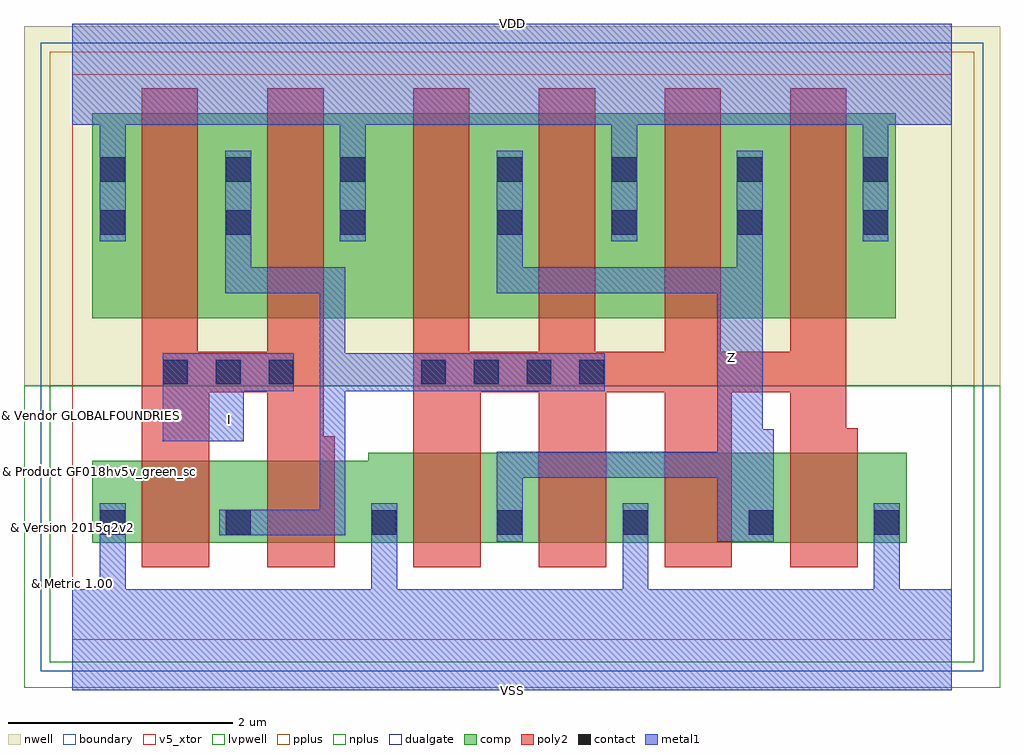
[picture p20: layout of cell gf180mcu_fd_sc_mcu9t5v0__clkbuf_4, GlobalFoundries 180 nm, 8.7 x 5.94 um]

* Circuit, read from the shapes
.subckt gf180mcu_fd_sc_mcu9t5v0__clkbuf_4 I VDD VSS Z
XM1 n1 I VSS VSUBS nfet_05v0 w=0.73u l=0.6u m=2
XM2 Z n1 VSS VSUBS nfet_05v0 w=0.8u l=0.6u m=4
XM3 n1 I VDD n2 pfet_05v0 w=1.83u l=0.5u m=2
XM4 Z n1 VDD n2 pfet_05v0 w=1.83u l=0.5u m=4
.ends

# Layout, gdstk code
import gdstk
lib = gdstk.Library(unit=1e-6, precision=1e-09)
def R(c, l, rs):  # rectangles x0, y0, x1, y1
    for r in rs: c.add(gdstk.rectangle(r[:2], r[2:], *l))
def P(c, l, *ps):  # polygons
    for p in ps: c.add(gdstk.Polygon(p, *l))
boundary = (0, 0)
nwell = (21, 0)
comp = (22, 0)
poly2 = (30, 0)
pplus = (31, 0)
nplus = (32, 0)
contact = (33, 0)
metal1 = (34, 0)
dualgate = (55, 0)
v5_xtor = (112, 1)
lvpwell = (204, 0)

gf180mcu_fd_sc_mcu9t5v0_ = lib.new_cell('gf180mcu_fd_sc_mcu9t5v0__clkbuf_4')
R(gf180mcu_fd_sc_mcu9t5v0_, boundary, [(0,0,7.84,5.04), (0,0,7.84,5.04)])
R(gf180mcu_fd_sc_mcu9t5v0_, nwell, [(-0.43,2.265,8.27,5.47), (-0.43,2.265,8.27,5.47)])
R(gf180mcu_fd_sc_mcu9t5v0_, comp, [(0.18,2.865,7.34,4.695), (0.18,2.865,7.34,4.695)])
P(gf180mcu_fd_sc_mcu9t5v0_, comp, [(0.18,0.865),(0.18,1.595),(2.64,1.595),(2.64,1.665),(7.44,1.665),(7.44,0.865)],
  [(0.18,0.865),(0.18,1.595),(2.64,1.595),(2.64,1.665),(7.44,1.665),(7.44,0.865)])
P(gf180mcu_fd_sc_mcu9t5v0_, poly2, [(0.62,0.645),(0.62,4.915),(1.12,4.915),(1.12,2.565),(1.74,2.565),(1.74,4.915),(2.24,4.915),(2.24,1.815),(2.34,1.815),(2.34,0.645),(1.74,0.645),(1.74,2.205),(1.22,2.205),(1.22,0.645)],
  [(3.04,0.645),(3.04,4.915),(3.54,4.915),(3.54,2.565),(4.16,2.565),(4.16,4.915),(4.66,4.915),(4.66,2.565),(5.28,2.565),(5.28,4.915),(5.78,4.915),(5.78,2.565),(6.4,2.565),(6.4,4.915),(6.9,4.915),(6.9,1.885),(7,1.885),(7,0.645),(6.4,0.645),(6.4,2.205),(5.88,2.205),(5.88,0.645),(5.28,0.645),(5.28,2.205),(4.76,2.205),(4.76,0.645),(4.16,0.645),(4.16,2.205),(3.64,2.205),(3.64,0.645)],
  [(0.62,0.645),(0.62,4.915),(1.12,4.915),(1.12,2.565),(1.74,2.565),(1.74,4.915),(2.24,4.915),(2.24,1.815),(2.34,1.815),(2.34,0.645),(1.74,0.645),(1.74,2.205),(1.22,2.205),(1.22,0.645)],
  [(3.04,0.645),(3.04,4.915),(3.54,4.915),(3.54,2.565),(4.16,2.565),(4.16,4.915),(4.66,4.915),(4.66,2.565),(5.28,2.565),(5.28,4.915),(5.78,4.915),(5.78,2.565),(6.4,2.565),(6.4,4.915),(6.9,4.915),(6.9,1.885),(7,1.885),(7,0.645),(6.4,0.645),(6.4,2.205),(5.88,2.205),(5.88,0.645),(5.28,0.645),(5.28,2.205),(4.76,2.205),(4.76,0.645),(4.16,0.645),(4.16,2.205),(3.64,2.205),(3.64,0.645)])
R(gf180mcu_fd_sc_mcu9t5v0_, pplus, [(-0.2,2.265,8.04,5.24), (-0.2,2.265,8.04,5.24)])
R(gf180mcu_fd_sc_mcu9t5v0_, nplus, [(-0.2,-0.2,8.04,2.265), (-0.2,-0.2,8.04,2.265)])
R(gf180mcu_fd_sc_mcu9t5v0_, contact, [(0.25,0.935,0.47,1.155), (0.25,0.935,0.47,1.155), (1.37,0.935,1.59,1.155), (1.37,0.935,1.59,1.155), (2.67,0.935,2.89,1.155), (2.67,0.935,2.89,1.155), (3.79,0.935,4.01,1.155), (3.79,0.935,4.01,1.155), (4.91,0.935,5.13,1.155), (4.91,0.935,5.13,1.155), (6.03,0.935,6.25,1.155), (6.03,0.935,6.25,1.155), (7.15,0.935,7.37,1.155), (7.15,0.935,7.37,1.155), (0.81,2.275,1.03,2.495), (0.81,2.275,1.03,2.495), (1.28,2.275,1.5,2.495), (1.28,2.275,1.5,2.495), (1.75,2.275,1.97,2.495), (1.75,2.275,1.97,2.495), (3.11,2.275,3.33,2.495), (3.11,2.275,3.33,2.495), (3.58,2.275,3.8,2.495), (3.58,2.275,3.8,2.495), (4.05,2.275,4.27,2.495), (4.05,2.275,4.27,2.495), (4.52,2.275,4.74,2.495), (4.52,2.275,4.74,2.495), (0.25,3.61,0.47,3.83), (0.25,3.61,0.47,3.83), (1.37,3.61,1.59,3.83), (1.37,3.61,1.59,3.83), (2.39,3.61,2.61,3.83), (2.39,3.61,2.61,3.83), (3.79,3.61,4.01,3.83), (3.79,3.61,4.01,3.83), (4.81,3.61,5.03,3.83), (4.81,3.61,5.03,3.83), (5.93,3.61,6.15,3.83), (5.93,3.61,6.15,3.83), (7.05,3.61,7.27,3.83), (7.05,3.61,7.27,3.83), (0.25,4.08,0.47,4.3), (0.25,4.08,0.47,4.3), (1.37,4.08,1.59,4.3), (1.37,4.08,1.59,4.3), (2.39,4.08,2.61,4.3), (2.39,4.08,2.61,4.3), (3.79,4.08,4.01,4.3), (3.79,4.08,4.01,4.3), (4.81,4.08,5.03,4.3), (4.81,4.08,5.03,4.3), (5.93,4.08,6.15,4.3), (5.93,4.08,6.15,4.3), (7.05,4.08,7.27,4.3), (7.05,4.08,7.27,4.3)])
P(gf180mcu_fd_sc_mcu9t5v0_, metal1, [(0.805,1.77),(0.805,2.555),(1.975,2.555),(1.975,2.215),(1.53,2.215),(1.53,1.77)],
  [(1.31,0.93),(1.31,1.16),(2.205,1.16),(2.205,3.09),(1.365,3.09),(1.365,4.36),(1.595,4.36),(1.595,3.32),(2.435,3.32),(2.435,2.555),(4.745,2.555),(4.745,2.215),(2.435,2.215),(2.435,0.93)],
  [(3.785,0.875),(3.785,1.675),(5.75,1.675),(5.75,3.09),(3.785,3.09),(3.785,4.36),(4.015,4.36),(4.015,3.32),(5.925,3.32),(5.925,4.36),(6.155,4.36),(6.155,1.875),(6.255,1.875),(6.255,0.875),(5.75,0.875),(5.75,1.445),(4.015,1.445),(4.015,0.875)],
  [(0,-0.45),(0,0.45),(0.245,0.45),(0.245,1.215),(0.475,1.215),(0.475,0.45),(2.665,0.45),(2.665,1.215),(2.895,1.215),(2.895,0.45),(4.905,0.45),(4.905,1.215),(5.135,1.215),(5.135,0.45),(7.145,0.45),(7.145,1.215),(7.375,1.215),(7.375,0.45),(7.84,0.45),(7.84,-0.45)],
  [(0.245,3.55),(0.245,4.59),(0,4.59),(0,5.49),(7.84,5.49),(7.84,4.59),(7.275,4.59),(7.275,3.55),(7.045,3.55),(7.045,4.59),(5.035,4.59),(5.035,3.55),(4.805,3.55),(4.805,4.59),(2.615,4.59),(2.615,3.55),(2.385,3.55),(2.385,4.59),(0.475,4.59),(0.475,3.55)],
  [(0.805,1.77),(0.805,2.555),(1.975,2.555),(1.975,2.215),(1.53,2.215),(1.53,1.77)],
  [(1.31,0.93),(1.31,1.16),(2.205,1.16),(2.205,3.09),(1.365,3.09),(1.365,4.36),(1.595,4.36),(1.595,3.32),(2.435,3.32),(2.435,2.555),(4.745,2.555),(4.745,2.215),(2.435,2.215),(2.435,0.93)],
  [(3.785,0.875),(3.785,1.675),(5.75,1.675),(5.75,3.09),(3.785,3.09),(3.785,4.36),(4.015,4.36),(4.015,3.32),(5.925,3.32),(5.925,4.36),(6.155,4.36),(6.155,1.875),(6.255,1.875),(6.255,0.875),(5.75,0.875),(5.75,1.445),(4.015,1.445),(4.015,0.875)],
  [(0,-0.45),(0,0.45),(0.245,0.45),(0.245,1.215),(0.475,1.215),(0.475,0.45),(2.665,0.45),(2.665,1.215),(2.895,1.215),(2.895,0.45),(4.905,0.45),(4.905,1.215),(5.135,1.215),(5.135,0.45),(7.145,0.45),(7.145,1.215),(7.375,1.215),(7.375,0.45),(7.84,0.45),(7.84,-0.45)],
  [(0.245,3.55),(0.245,4.59),(0,4.59),(0,5.49),(7.84,5.49),(7.84,4.59),(7.275,4.59),(7.275,3.55),(7.045,3.55),(7.045,4.59),(5.035,4.59),(5.035,3.55),(4.805,3.55),(4.805,4.59),(2.615,4.59),(2.615,3.55),(2.385,3.55),(2.385,4.59),(0.475,4.59),(0.475,3.55)])
R(gf180mcu_fd_sc_mcu9t5v0_, dualgate, [(-0.28,-0.28,8.12,5.32), (-0.28,-0.28,8.12,5.32)])
R(gf180mcu_fd_sc_mcu9t5v0_, v5_xtor, [(0,0,7.84,5.04), (0,0,7.84,5.04)])
R(gf180mcu_fd_sc_mcu9t5v0_, lvpwell, [(-0.43,-0.43,8.27,2.265), (-0.43,-0.43,8.27,2.265)])
gf180mcu_fd_sc_mcu9t5v0_.add(gdstk.Label('I', (1.4,1.96), layer=34, texttype=10))
gf180mcu_fd_sc_mcu9t5v0_.add(gdstk.Label('VDD', (3.92,5.49), layer=34, texttype=10))
gf180mcu_fd_sc_mcu9t5v0_.add(gdstk.Label('VSS', (3.92,-0.45), layer=34, texttype=10))
gf180mcu_fd_sc_mcu9t5v0_.add(gdstk.Label('Z', (5.88,2.52), layer=34, texttype=10))
gf180mcu_fd_sc_mcu9t5v0_.add(gdstk.Label('I', (1.4,1.96), layer=34, texttype=10))
gf180mcu_fd_sc_mcu9t5v0_.add(gdstk.Label('VDD', (3.92,5.49), layer=34, texttype=10))
gf180mcu_fd_sc_mcu9t5v0_.add(gdstk.Label('VSS', (3.92,-0.45), layer=34, texttype=10))
gf180mcu_fd_sc_mcu9t5v0_.add(gdstk.Label('Z', (5.88,2.52), layer=34, texttype=10))
gf180mcu_fd_sc_mcu9t5v0_.add(gdstk.Label('& Vendor GLOBALFOUNDRIES', (0,2), layer=63, texttype=63))
gf180mcu_fd_sc_mcu9t5v0_.add(gdstk.Label('& Product GF018hv5v_green_sc9', (0,1.5), layer=63, texttype=63))
gf180mcu_fd_sc_mcu9t5v0_.add(gdstk.Label('& Version 2015q2v2', (0,1), layer=63, texttype=63))
gf180mcu_fd_sc_mcu9t5v0_.add(gdstk.Label('& Metric 1.00', (0,0.5), layer=63, texttype=63))
gf180mcu_fd_sc_mcu9t5v0_.add(gdstk.Label('& Vendor GLOBALFOUNDRIES', (0,2), layer=63, texttype=63))
gf180mcu_fd_sc_mcu9t5v0_.add(gdstk.Label('& Product GF018hv5v_green_sc9', (0,1.5), layer=63, texttype=63))
gf180mcu_fd_sc_mcu9t5v0_.add(gdstk.Label('& Version 2015q2v2', (0,1), layer=63, texttype=63))
gf180mcu_fd_sc_mcu9t5v0_.add(gdstk.Label('& Metric 1.00', (0,0.5), layer=63, texttype=63))

lib.write_gds('gf180mcu_fd_sc_mcu9t5v0__clkbuf_4.gds')
